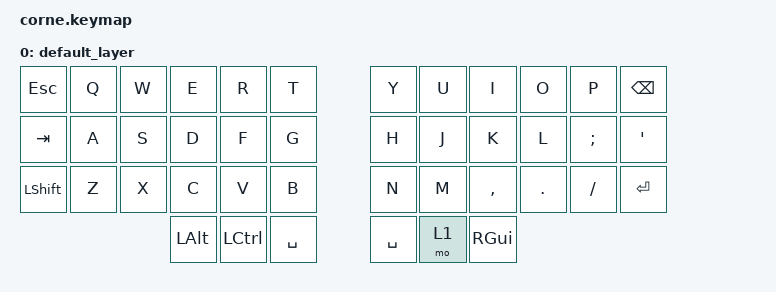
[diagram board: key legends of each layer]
#include <behaviors.dtsi>
#include <dt-bindings/zmk/keys.h>

/ {
    keymap {
        compatible = "zmk,keymap";

        default_layer {
            bindings = <
                &kp ESC   &kp Q &kp W &kp E &kp R &kp T   &kp Y &kp U &kp I     &kp O   &kp P    &kp BSPC
                &kp TAB   &kp A &kp S &kp D &kp F &kp G   &kp H &kp J &kp K     &kp L   &kp SEMI &kp SQT
                &kp LSHFT &kp Z &kp X &kp C &kp V &kp B   &kp N &kp M &kp COMMA &kp DOT &kp FSLH &kp ENTER
                                &kp LALT &kp LCTRL &kp SPACE   &kp SPACE &mo 1 &kp RGUI
            >;
        };
    };
};
